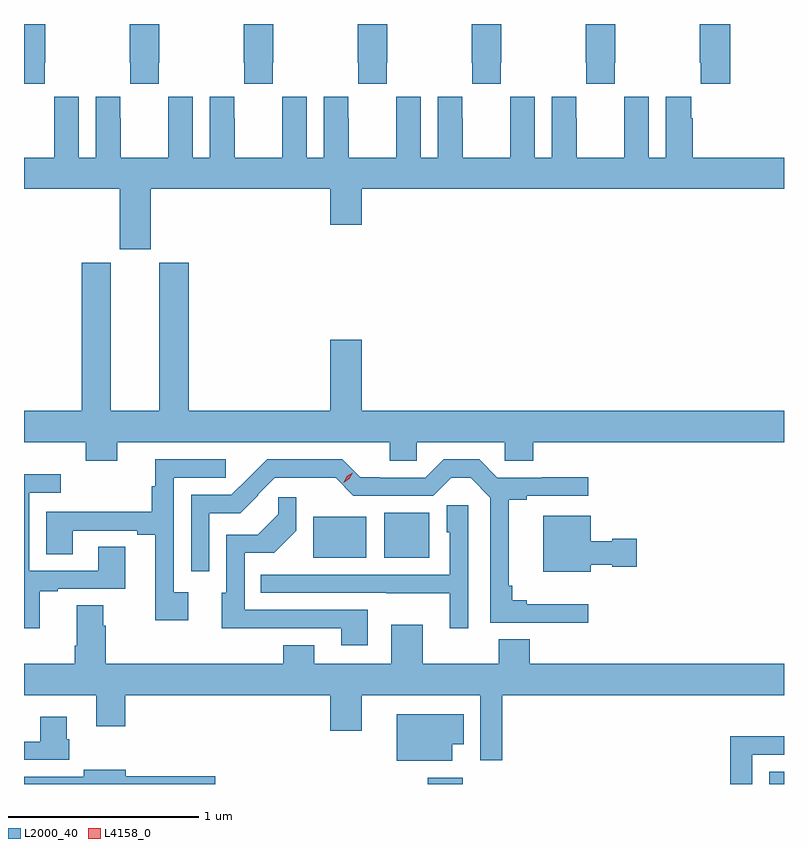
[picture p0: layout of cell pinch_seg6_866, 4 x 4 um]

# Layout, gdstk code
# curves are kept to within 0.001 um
import gdstk
lib = gdstk.Library(unit=1e-6, precision=1e-09)
def R(c, l, rs):  # rectangles x0, y0, x1, y1
    for r in rs: c.add(gdstk.rectangle(r[:2], r[2:], *l))
def P(c, l, *ps):  # polygons
    for p in ps: c.add(gdstk.Polygon(p, *l))
L2000_40 = (2000, 40)
L4158_0 = (4158, 0)

pinch_seg6_866 = lib.new_cell('pinch_seg6_866')
R(pinch_seg6_866, L2000_40, [(141.543,938.876,141.727,938.908), (143.342,938.876,143.419,938.941), (140.942,940.067,141.22,940.282), (141.314,940.067,141.553,940.303)])
P(pinch_seg6_866, L2000_40, [(143.135,942.876),(142.975,942.876),(142.975,942.673),(142.981,942.673),(142.981,942.561),(143.135,942.561)],
  [(142.527,942.673),(142.53,942.673),(142.53,942.876),(142.375,942.876),(142.375,942.673),(142.377,942.673),(142.377,942.561),(142.527,942.561)],
  [(141.927,942.673),(141.93,942.673),(141.93,942.876),(141.775,942.876),(141.775,942.673),(141.777,942.673),(141.777,942.561),(141.927,942.561)],
  [(141.327,942.673),(141.33,942.673),(141.33,942.876),(141.175,942.876),(141.175,942.673),(141.177,942.673),(141.177,942.561),(141.327,942.561)],
  [(140.727,942.673),(140.73,942.673),(140.73,942.876),(140.575,942.876),(140.575,942.673),(140.577,942.673),(140.577,942.561),(140.727,942.561)],
  [(140.127,942.673),(140.13,942.673),(140.13,942.876),(139.975,942.876),(139.975,942.673),(139.977,942.673),(139.977,942.561),(140.127,942.561)],
  [(139.527,942.673),(139.53,942.673),(139.53,942.876),(139.419,942.876),(139.419,942.561),(139.527,942.561)],
  [(143.419,942.172),(142.94,942.172),(142.94,942.38),(142.93,942.38),(142.93,942.493),(142.796,942.493),(142.796,942.172),(142.708,942.172),(142.708,942.493),(142.578,942.493),(142.578,942.38),(142.577,942.38),(142.577,942.172),(142.327,942.172),(142.327,942.38),(142.326,942.38),(142.326,942.493),(142.196,942.493),(142.196,942.172),(142.108,942.172),(142.108,942.493),(141.978,942.493),(141.978,942.38),(141.977,942.38),(141.977,942.172),(141.727,942.172),(141.727,942.38),(141.726,942.38),(141.726,942.493),(141.596,942.493),(141.596,942.172),(141.508,942.172),(141.508,942.493),(141.378,942.493),(141.378,942.38),(141.377,942.38),(141.377,942.172),(141.127,942.172),(141.127,942.38),(141.126,942.38),(141.126,942.493),(140.996,942.493),(140.996,942.172),(140.908,942.172),(140.908,942.493),(140.778,942.493),(140.778,942.38),(140.777,942.38),(140.777,942.172),(140.527,942.172),(140.527,942.38),(140.526,942.38),(140.526,942.493),(140.396,942.493),(140.396,942.172),(140.308,942.172),(140.308,942.493),(140.178,942.493),(140.178,942.38),(140.177,942.38),(140.177,942.172),(139.927,942.172),(139.927,942.38),(139.926,942.38),(139.926,942.493),(139.796,942.493),(139.796,942.172),(139.708,942.172),(139.708,942.493),(139.578,942.493),(139.578,942.38),(139.577,942.38),(139.577,942.172),(139.419,942.172),(139.419,942.008),(139.922,942.008),(139.922,941.691),(140.086,941.691),(140.086,942.008),(141.032,942.008),(141.032,941.82),(141.196,941.82),(141.196,942.008),(143.419,942.008)],
  [(139.909,940.676),(141.344,940.676),(141.344,940.578),(141.486,940.578),(141.486,940.676),(141.948,940.676),(141.948,940.578),(142.1,940.578),(142.1,940.676),(143.419,940.676),(143.419,940.84),(141.196,940.84),(141.196,941.215),(141.032,941.215),(141.032,940.84),(140.285,940.84),(140.285,941.619),(140.132,941.619),(140.132,940.84),(139.876,940.84),(139.876,941.619),(139.724,941.619),(139.724,940.84),(139.419,940.84),(139.419,940.676),(139.745,940.676),(139.745,940.577),(139.909,940.577)],
  [(142.39,939.823),(142.066,939.823),(142.066,939.842),(141.989,939.842),(141.989,939.919),(141.971,939.919),(141.971,940.372),(142.066,940.372),(142.066,940.392),(142.39,940.392),(142.39,940.49),(142.143,940.49),(142.143,940.488),(141.91,940.488),(141.814,940.584),(141.627,940.584),(141.531,940.488),(141.292,940.488),(141.292,940.49),(141.188,940.49),(141.093,940.584),(140.699,940.584),(140.511,940.398),(140.298,940.398),(140.298,939.996),(140.394,939.996),(140.394,940.302),(140.557,940.302),(140.651,940.396),(140.649,940.398),(140.739,940.488),(141.059,940.487),(141.153,940.392),(141.573,940.392),(141.668,940.487),(141.769,940.487),(141.873,940.383),(141.873,939.726),(142.39,939.725)],
  [(140.284,939.886),(140.208,939.886),(140.208,940.488),(140.481,940.488),(140.481,940.584),(140.111,940.584),(140.111,940.442),(140.092,940.442),(140.092,940.31),(139.535,940.31),(139.535,940.084),(139.675,940.084),(139.675,940.209),(140.015,940.209),(140.015,940.189),(140.111,940.189),(140.111,939.738),(140.284,939.738)],
  [(139.501,939.891),(139.597,939.891),(139.597,939.903),(139.951,939.903),(139.951,940.124),(139.811,940.124),(139.811,939.999),(139.446,939.999),(139.446,940.41),(139.612,940.41),(139.612,940.507),(139.419,940.507),(139.419,939.696),(139.501,939.696)],
  [(141.229,939.792),(140.58,939.792),(140.58,940.092),(140.737,940.092),(140.853,940.208),(140.853,940.384),(140.758,940.384),(140.758,940.296),(140.65,940.188),(140.484,940.188),(140.484,939.882),(140.459,939.882),(140.459,939.695),(141.089,939.696),(141.089,939.606),(141.229,939.606)],
  [(141.756,940.343),(141.644,940.343),(141.644,940.2),(141.66,940.2),(141.66,939.978),(140.665,939.978),(140.665,939.882),(141.325,939.882),(141.325,939.881),(141.659,939.881),(141.659,939.696),(141.756,939.696)],
  [(142.402,940.031),(142.515,940.031),(142.515,940.019),(142.645,940.019),(142.645,940.166),(142.515,940.166),(142.515,940.153),(142.402,940.153),(142.402,940.288),(142.151,940.288),(142.151,939.992),(142.402,939.992)],
  [(141.935,939.344),(143.419,939.344),(143.419,939.508),(142.081,939.508),(142.081,939.637),(141.917,939.637),(141.917,939.508),(141.517,939.508),(141.517,939.715),(141.353,939.715),(141.353,939.508),(140.947,939.508),(140.947,939.607),(140.783,939.607),(140.783,939.508),(139.85,939.508),(139.85,939.71),(139.837,939.71),(139.837,939.818),(139.697,939.818),(139.697,939.604),(139.685,939.604),(139.685,939.508),(139.419,939.508),(139.419,939.344),(139.799,939.344),(139.799,939.18),(139.952,939.18),(139.952,939.344),(141.032,939.344),(141.032,939.156),(141.196,939.156),(141.196,939.344),(141.819,939.344),(141.819,939),(141.935,939)],
  [(141.673,939.086),(141.734,939.086),(141.734,939.244),(141.38,939.244),(141.38,938.999),(141.673,938.999)],
  [(139.658,939.111),(139.645,939.111),(139.645,939.229),(139.505,939.229),(139.505,939.099),(139.419,939.099),(139.419,939.003),(139.658,939.003)],
  [(143.253,939.03),(143.419,939.03),(143.419,939.128),(143.137,939.128),(143.137,938.876),(143.253,938.876)],
  [(140.425,938.916),(139.954,938.916),(139.954,938.95),(139.733,938.95),(139.733,938.914),(139.419,938.914),(139.419,938.876),(140.425,938.876)])
P(pinch_seg6_866, L4158_0, [(141.101,940.461),(141.101,940.461),(141.117,940.495),(141.148,940.515),(141.148,940.515),(141.148,940.515),(141.132,940.482),(141.101,940.461)])

lib.write_gds('pinch_seg6_866.gds')
